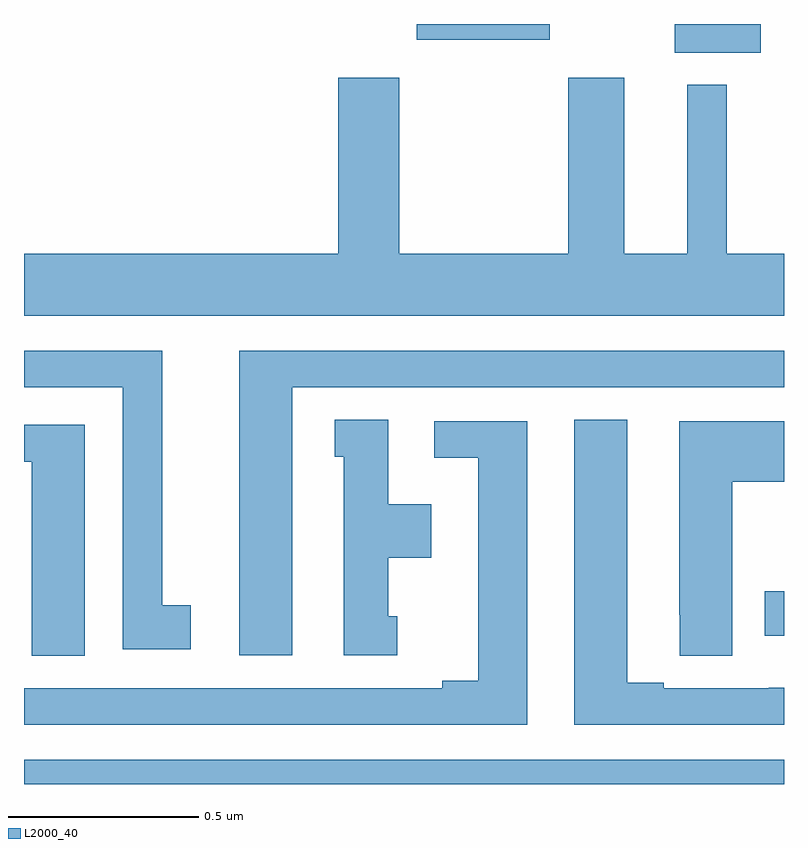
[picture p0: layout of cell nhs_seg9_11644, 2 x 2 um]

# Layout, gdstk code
import gdstk
lib = gdstk.Library(unit=1e-6, precision=1e-09)
def R(c, l, rs):  # rectangles x0, y0, x1, y1
    for r in rs: c.add(gdstk.rectangle(r[:2], r[2:], *l))
def P(c, l, *ps):  # polygons
    for p in ps: c.add(gdstk.Polygon(p, *l))
L2000_40 = (2000, 40)

nhs_seg9_11644 = lib.new_cell('nhs_seg9_11644')
R(nhs_seg9_11644, L2000_40, [(258,1216.5,260,1216.564), (259.949,1216.89,260,1217.007), (259.712,1218.425,259.939,1218.5), (259.034,1218.458,259.384,1218.5)])
P(nhs_seg9_11644, L2000_40, [(260,1217.896),(259.849,1217.896),(259.849,1218.34),(259.745,1218.34),(259.745,1217.896),(259.579,1217.896),(259.579,1218.358),(259.432,1218.358),(259.432,1217.896),(258.987,1217.896),(258.987,1218.358),(258.827,1218.358),(258.827,1217.896),(258,1217.896),(258,1217.732),(260,1217.732)],
  [(258.439,1216.97),(258.364,1216.97),(258.364,1217.64),(258,1217.64),(258,1217.544),(258.26,1217.544),(258.26,1216.854),(258.439,1216.854)],
  [(258.706,1217.544),(260,1217.544),(260,1217.64),(258.566,1217.64),(258.566,1216.839),(258.706,1216.839)],
  [(260,1216.753),(259.96,1216.753),(259.96,1216.752),(259.684,1216.752),(259.684,1216.767),(259.588,1216.767),(259.588,1217.459),(259.448,1217.459),(259.448,1216.656),(260,1216.656)],
  [(258.982,1216.941),(258.958,1216.941),(258.958,1217.096),(259.072,1217.096),(259.072,1217.236),(258.958,1217.236),(258.958,1217.459),(258.818,1217.459),(258.818,1217.361),(258.842,1217.361),(258.842,1216.839),(258.982,1216.839)],
  [(259.864,1217.296),(260,1217.296),(260,1217.455),(259.724,1217.455),(259.724,1216.945),(259.725,1216.945),(259.725,1216.837),(259.864,1216.837)],
  [(259.324,1217.454),(259.08,1217.454),(259.08,1217.358),(259.196,1217.358),(259.196,1216.772),(259.1,1216.772),(259.1,1216.752),(258,1216.752),(258,1216.656),(259.324,1216.656)],
  [(258.16,1217.445),(258,1217.445),(258,1217.348),(258.02,1217.348),(258.02,1216.945),(258.021,1216.945),(258.021,1216.837),(258.16,1216.837)])

lib.write_gds('nhs_seg9_11644.gds')
